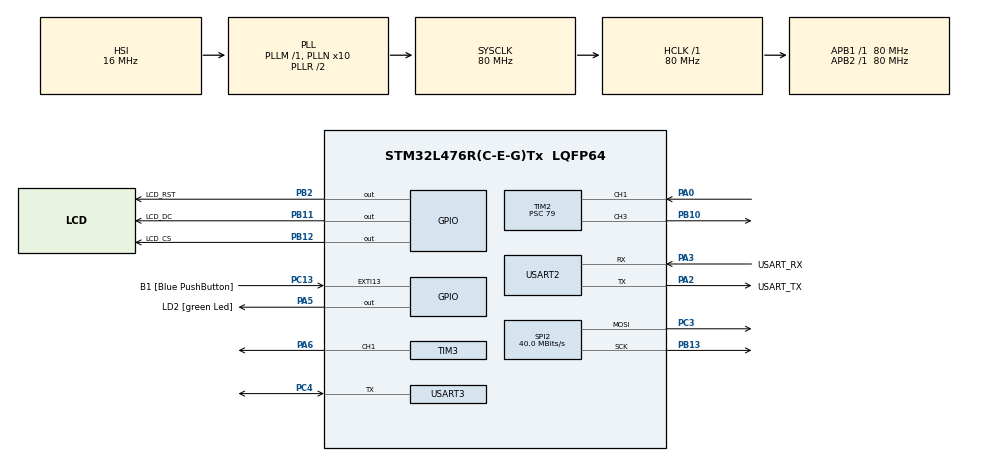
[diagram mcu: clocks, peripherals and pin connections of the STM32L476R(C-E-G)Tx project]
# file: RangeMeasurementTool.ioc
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Dma.Request0=SPI2_TX
Dma.Request1=TIM3_CH1/TRIG
Dma.SPI2_TX.0.Direction=DMA_MEMORY_TO_PERIPH
Dma.SPI2_TX.0.Instance=DMA1_Channel5
Dma.SPI2_TX.0.MemDataAlignment=DMA_MDATAALIGN_BYTE
Dma.SPI2_TX.0.MemInc=DMA_MINC_ENABLE
Dma.SPI2_TX.0.Mode=DMA_NORMAL
Dma.SPI2_TX.0.PeriphDataAlignment=DMA_PDATAALIGN_BYTE
Dma.SPI2_TX.0.PeriphInc=DMA_PINC_DISABLE
Dma.SPI2_TX.0.Priority=DMA_PRIORITY_LOW
Dma.TIM3_CH1/TRIG.1.Direction=DMA_MEMORY_TO_PERIPH
Dma.TIM3_CH1/TRIG.1.Instance=DMA1_Channel6
Dma.TIM3_CH1/TRIG.1.MemDataAlignment=DMA_MDATAALIGN_BYTE
Dma.TIM3_CH1/TRIG.1.MemInc=DMA_MINC_ENABLE
Dma.TIM3_CH1/TRIG.1.Mode=DMA_NORMAL
Dma.TIM3_CH1/TRIG.1.PeriphDataAlignment=DMA_PDATAALIGN_HALFWORD
Dma.TIM3_CH1/TRIG.1.PeriphInc=DMA_PINC_DISABLE
Dma.TIM3_CH1/TRIG.1.Priority=DMA_PRIORITY_LOW
Mcu.Family=STM32L4
Mcu.Name=STM32L476R(C-E-G)Tx
Mcu.Package=LQFP64
NVIC.DMA1_Channel5_IRQn=true\:0\:0\:false\:false\:true\:false\:true\:true
NVIC.DMA1_Channel6_IRQn=true\:0\:0\:false\:false\:true\:false\:true\:true
NVIC.PriorityGroup=NVIC_PRIORITYGROUP_4
NVIC.TIM1_UP_TIM16_IRQn=true\:6\:0\:true\:false\:true\:true\:true\:true
NVIC.TIM2_IRQn=true\:10\:0\:true\:false\:true\:true\:true\:true
NVIC.TIM7_IRQn=true\:5\:0\:true\:false\:true\:true\:true\:true
PA0.Signal=S_TIM2_CH1
PA13\ (JTMS-SWDIO).GPIO_Label=TMS
PA13\ (JTMS-SWDIO).Mode=Serial_Wire
PA13\ (JTMS-SWDIO).Signal=SYS_JTMS-SWDIO
PA14\ (JTCK-SWCLK).GPIO_Label=TCK
PA14\ (JTCK-SWCLK).Mode=Serial_Wire
PA14\ (JTCK-SWCLK).Signal=SYS_JTCK-SWCLK
PA2.GPIO_Label=USART_TX
PA2.GPIO_Mode=GPIO_MODE_AF_PP
PA2.GPIO_PuPd=GPIO_NOPULL
PA2.GPIO_Speed=GPIO_SPEED_FREQ_VERY_HIGH
PA2.Mode=Asynchronous
PA2.Signal=USART2_TX
PA3.GPIO_Label=USART_RX
PA3.GPIO_Mode=GPIO_MODE_AF_PP
PA3.GPIO_PuPd=GPIO_NOPULL
PA3.GPIO_Speed=GPIO_SPEED_FREQ_VERY_HIGH
PA3.Mode=Asynchronous
PA3.Signal=USART2_RX
PA5.GPIO_Label=LD2 [green Led]
PA5.GPIO_ModeDefaultOutputPP=GPIO_MODE_OUTPUT_PP
PA5.GPIO_PuPd=GPIO_NOPULL
PA5.GPIO_Speed=GPIO_SPEED_FREQ_LOW
PA5.Signal=GPIO_Output
PA6.Signal=S_TIM3_CH1
PB10.Signal=S_TIM2_CH3
PB11.GPIO_Label=LCD_DC
PB11.Signal=GPIO_Output
PB12.GPIO_Label=LCD_CS
PB12.Signal=GPIO_Output
PB13.Mode=TX_Only_Simplex_Unidirect_Master
PB13.Signal=SPI2_SCK
PB2.GPIO_Label=LCD_RST
PB2.Signal=GPIO_Output
PB3\ (JTDO-TRACESWO).GPIO_Label=SWO
PB3\ (JTDO-TRACESWO).Signal=SYS_JTDO-SWO
PC13.GPIO_Label=B1 [Blue PushButton]
PC13.GPIO_ModeDefaultEXTI=GPIO_MODE_IT_FALLING
PC13.GPIO_PuPd=GPIO_NOPULL
PC13.Signal=GPXTI13
PC14-OSC32_IN\ (PC14).Mode=LSE-External-Oscillator
PC14-OSC32_IN\ (PC14).Signal=RCC_OSC32_IN
PC15-OSC32_OUT\ (PC15).Mode=LSE-External-Oscillator
PC15-OSC32_OUT\ (PC15).Signal=RCC_OSC32_OUT
PC3.Mode=TX_Only_Simplex_Unidirect_Master
PC3.Signal=SPI2_MOSI
PC4.Mode=Half_duplex(single_wire_mode)
PC4.Signal=USART3_TX
PH0-OSC_IN\ (PH0).Signal=RCC_OSC_IN
PH1-OSC_OUT\ (PH1).Signal=RCC_OSC_OUT
ProjectManager.HeapSize=0x200
ProjectManager.StackSize=0x400
ProjectManager.TargetToolchain=STM32CubeIDE
RCC.ADCFreq_Value=64000000
RCC.AHBFreq_Value=80000000
RCC.APB1Freq_Value=80000000
RCC.APB1TimFreq_Value=80000000
RCC.APB2Freq_Value=80000000
RCC.APB2TimFreq_Value=80000000
RCC.CortexFreq_Value=80000000
RCC.HCLKFreq_Value=80000000
RCC.HSE_VALUE=8000000
RCC.HSI_VALUE=16000000
RCC.MSI_VALUE=4000000
RCC.PLLN=10
RCC.PLLSourceVirtual=RCC_PLLSOURCE_HSI
RCC.PREFETCH_ENABLE=1
RCC.SYSCLKFreq_VALUE=80000000
RCC.SYSCLKSource=RCC_SYSCLKSOURCE_PLLCLK
RCC.USBFreq_Value=64000000
RCC.VCOOutputFreq_Value=160000000
SH.S_TIM2_CH1.0=TIM2_CH1,Input_Capture1_from_TI1
SH.S_TIM2_CH3.0=TIM2_CH3,PWM Generation3 CH3
SH.S_TIM3_CH1.0=TIM3_CH1,PWM Generation1 CH1
SPI2.CalculateBaudRate=40.0 MBits/s
SPI2.DataSize=SPI_DATASIZE_8BIT
SPI2.Direction=SPI_DIRECTION_2LINES
SPI2.Mode=SPI_MODE_MASTER
SPI2.VirtualType=VM_MASTER
TIM16.Period=749
TIM16.Prescaler=7999
TIM2.Channel-Input_Capture1_from_TI1=TIM_CHANNEL_1
TIM2.Channel-Input_Capture2_from_TI1_63=TIM_CHANNEL_2
TIM2.Channel-PWM\ Generation3\ CH3=TIM_CHANNEL_3
TIM2.ICPolarity_CH2=TIM_INPUTCHANNELPOLARITY_FALLING
TIM2.Period=99999
TIM2.Prescaler=79
TIM2.Pulse-PWM\ Generation3\ CH3=10
TIM3.Channel-PWM\ Generation1\ CH1=TIM_CHANNEL_1
TIM3.Period=99
TIM6.Prescaler=79
TIM7.Period=499
TIM7.Prescaler=7999
USART2.VirtualMode-Asynchronous=VM_ASYNC
USART3.OverrunDisableParam=ADVFEATURE_OVERRUN_DISABLE
USART3.VirtualMode-Half_duplex(single_wire_mode)=VM_ASYNC
VP_DAC1_VS_DACI1.Mode=DAC_OUT1_Int
VP_TIM16_VS_ClockSourceINT.Mode=Enable_Timer
VP_TIM2_VS_ClockSourceINT.Mode=Internal
VP_TIM2_VS_indirect_ch1.Mode=Input_Capture2_from_TI1_63
VP_TIM3_VS_ClockSourceINT.Mode=Internal
VP_TIM6_VS_ClockSourceINT.Mode=Enable_Timer
VP_TIM7_VS_ClockSourceINT.Mode=Enable_Timer
board=NUCLEO-L476RG

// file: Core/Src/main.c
/* USER CODE BEGIN Header */
/**
 ******************************************************************************
 * @file           : main.c
 * @brief          : Main program body
 ******************************************************************************
 * @attention
 *
 * Copyright (c) 2024 STMicroelectronics.
 * All rights reserved.
 *
 * This software is licensed under terms that can be found in the LICENSE file
 * in the root directory of this software component.
 * If no LICENSE file comes with this software, it is provided AS-IS.
 *
 ******************************************************************************
 */
/* USER CODE END Header */
#include "main.h"
#include "dac.h"
#include "dma.h"
#include "spi.h"
#include "tim.h"
#include "usart.h"
#include "gpio.h"

/* USER CODE BEGIN Includes */
#include <stdio.h>
#include <wchar.h>
#include <stdbool.h>
#include <math.h>
#include "hagl.h"
#include "font6x9.h"
#include "rgb565.h"
#include "ds18b20.h"
#include "ws2812b.h"
/* USER CODE END Includes */

/* USER CODE BEGIN PV */
// gamma correction for WS2812B
const uint8_t gamma8[] = {
		0,  0,  0,  0,  0,  0,  0,  0,  0,  0,  0,  0,  0,  0,  0,  0,
		0,  0,  0,  0,  0,  0,  0,  0,  0,  0,  0,  0,  1,  1,  1,  1,
		1,  1,  1,  1,  1,  1,  1,  1,  1,  2,  2,  2,  2,  2,  2,  2,
		2,  3,  3,  3,  3,  3,  3,  3,  4,  4,  4,  4,  4,  5,  5,  5,
		5,  6,  6,  6,  6,  7,  7,  7,  7,  8,  8,  8,  9,  9,  9, 10,
		10, 10, 11, 11, 11, 12, 12, 13, 13, 13, 14, 14, 15, 15, 16, 16,
		17, 17, 18, 18, 19, 19, 20, 20, 21, 21, 22, 22, 23, 24, 24, 25,
		25, 26, 27, 27, 28, 29, 29, 30, 31, 32, 32, 33, 34, 35, 35, 36,
		37, 38, 39, 39, 40, 41, 42, 43, 44, 45, 46, 47, 48, 49, 50, 50,
		51, 52, 54, 55, 56, 57, 58, 59, 60, 61, 62, 63, 64, 66, 67, 68,
		69, 70, 72, 73, 74, 75, 77, 78, 79, 81, 82, 83, 85, 86, 87, 89,
		90, 92, 93, 95, 96, 98, 99,101,102,104,105,107,109,110,112,114,
		115,117,119,120,122,124,126,127,129,131,133,135,137,138,140,142,
		144,146,148,150,152,154,156,158,160,162,164,167,169,171,173,175,
		177,180,182,184,186,189,191,193,196,198,200,203,205,208,210,213,
		215,218,220,223,225,228,231,233,236,239,241,244,247,249,252,255 };
/* USER CODE END PV */

void SystemClock_Config(void);

/* USER CODE BEGIN 0 */
const uint8_t ds1[] = { 0x28, 0x86, 0x54, 0x14, 0x00, 0x00, 0x00, 0xFA }; // temp sensor 1 adress
const uint8_t ds2[] = { 0x28, 0x5B, 0x1D, 0x13, 0x00, 0x00, 0x00, 0xE8 }; // temp sensor 2 adress
volatile bool temp_measure_pending = true; // boolean value for launching measurement
volatile float temp_ds1 = 0.0;
volatile float temp_ds2 = 0.0; // initial value for temperature (used in interruption)
volatile float distance = 0.0;
volatile float prev_distance = 0.0;

// function for sending text using UART (i.e to PC)
int __io_putchar(int ch)
{
	if (ch == '\n')
		__io_putchar('\r');

	HAL_UART_Transmit(&huart2, (uint8_t*)&ch, 1, HAL_MAX_DELAY);
	return 1;
}

// speed of sound calculation based on air temperature
static float calc_sound_speed(float temp_ds1)
{
	return 331.8f + 0.6f * temp_ds1;
}

// function to check how many digits value has (used in displaying distance on LCD)
int howManyDigits(double value)
{
	// if value == 0, then 1 digit
	if (!value)
		return 1;

	int digits = (int)log10(fabs(value)) + 1;
	return digits;
}

// interruptions from timers
void HAL_TIM_PeriodElapsedCallback(TIM_HandleTypeDef *htim)
{
	if (htim == &htim7) { //Timer nr 7 is used for refreshing screen and diodes
		lcd_copy(); // update LCD (send buffer from i.e hagl_put_text)
		ws2812b_update(); // update WS2812B diodes (send buffer i.e ws2812b_set_color_all)
	} else if (htim == &htim16) { // Timer nr 16 is used for temperature measurement and preparing buffer for LCD
		if (temp_measure_pending) {
			ds18b20_start_measure(ds1); // start measurements for both ds18b20
			ds18b20_start_measure(ds2);
			temp_measure_pending = false; // measure started flag
		} else {
			// read and save converted temperature
			temp_ds1 = ds18b20_get_temp(ds1);
			temp_ds2 = ds18b20_get_temp(ds2);
			// buffers for temperature (wchar_t is accepted by hagl_put_text)
			wchar_t buffer_ds1[32];
			wchar_t buffer_ds2[32];
			// coversion float temp for wide char to put in hagl_put_text
			swprintf(buffer_ds1, 32, L"Case temp: %.1f*C", temp_ds1);
			swprintf(buffer_ds2, 32, L"Sensor temp: %.1f*C", temp_ds2);

			// hagl function for writing text with error handler (ds18b20 displays errors as 85*C value)
			if (temp_ds1 <= -80.0f) {
				hagl_put_text(L"Sensor (1) error...", 10, 20, RED, font6x9);
			} else {
				hagl_put_text(buffer_ds1, 10, 20, YELLOW, font6x9);
			}

			if (temp_ds1 <=-80.0f) {
				hagl_put_text(L"Sensor (2) error...", 10, 20, RED, font6x9);
			} else {
				hagl_put_text(buffer_ds2, 10, 40, YELLOW, font6x9);
			}
			// measurement finished, ready for next one
			temp_measure_pending = true;
		}
	} else if (htim == &htim2) { // Timer nr 2 is used for measuring distance and preparing buffers for LCD and LED
		// capturing rising and falling edge of sensor signal
		uint32_t start = HAL_TIM_ReadCapturedValue(&htim2, TIM_CHANNEL_1);
		uint32_t stop = HAL_TIM_ReadCapturedValue(&htim2, TIM_CHANNEL_2);
		// calculating distance based on sound speed at measured temperature
		distance = (stop - start) * calc_sound_speed(temp_ds1) / 20000.0f;
		// preparing data for LCD
		wchar_t buffer_distance[32];
		swprintf(buffer_distance, 32, L"Distance: %.1f cm", distance);

		// if numver of digits has changed (154 cm -> 67 cm), refresh screen by drawing rectangle
		if (howManyDigits(distance) != howManyDigits(prev_distance))
			hagl_fill_rectangle(10, 60, 150, 70, BLACK);

		// limiting range for LED - it will change colors only in 0-200 cm range
		float distance_led;
		if (distance > 200) {
			distance_led = 200;
		} else if (distance < 0) {
			distance_led = 0;
		} else  {
			distance_led = distance;
		}

		// closer means more red, further means more green
		ws2812b_set_color_all(255-roundf(distance_led/200*255), roundf(distance_led/200*255), 0);

		hagl_put_text(buffer_distance, 10, 60, YELLOW, font6x9); // prepare buffer for LCD
		prev_distance = distance;
	}
}
/* USER CODE END 0 */

int main(void)
{

  /* MCU Configuration--------------------------------------------------------*/

  /* Reset of all peripherals, Initializes the Flash interface and the Systick. */
  HAL_Init();

  /* Configure the system clock */
  SystemClock_Config();

  /* Initialize all configured peripherals */
  MX_GPIO_Init();
  MX_DMA_Init();
  MX_USART2_UART_Init();
  MX_SPI2_Init();
  MX_DAC1_Init();
  MX_TIM6_Init();
  MX_USART3_UART_Init();
  MX_TIM7_Init();
  MX_TIM16_Init();
  MX_TIM3_Init();
  MX_TIM2_Init();
  /* USER CODE BEGIN 2 */
	HAL_TIM_Base_Start_IT(&htim2);
	HAL_TIM_Base_Start_IT(&htim7);
	HAL_TIM_Base_Start_IT(&htim16);
	HAL_TIM_IC_Start(&htim2, TIM_CHANNEL_1);
	HAL_TIM_IC_Start(&htim2, TIM_CHANNEL_2);
	HAL_TIM_PWM_Start(&htim2, TIM_CHANNEL_3);
  /* USER CODE END 2 */

  /* Infinite loop */
  /* USER CODE BEGIN WHILE */
	lcd_init(); // LCD initialization

	while (1)
	{

    /* USER CODE END WHILE */

	}
}

void SystemClock_Config(void)
{
  RCC_OscInitTypeDef RCC_OscInitStruct = {0};
  RCC_ClkInitTypeDef RCC_ClkInitStruct = {0};

  /** Configure the main internal regulator output voltage
  */
  if (HAL_PWREx_ControlVoltageScaling(PWR_REGULATOR_VOLTAGE_SCALE1) != HAL_OK)
  {
    Error_Handler();
  }

  /** Initializes the RCC Oscillators according to the specified parameters
  * in the RCC_OscInitTypeDef structure.
  */
  RCC_OscInitStruct.OscillatorType = RCC_OSCILLATORTYPE_HSI;
  RCC_OscInitStruct.HSIState = RCC_HSI_ON;
  RCC_OscInitStruct.HSICalibrationValue = RCC_HSICALIBRATION_DEFAULT;
  RCC_OscInitStruct.PLL.PLLState = RCC_PLL_ON;
  RCC_OscInitStruct.PLL.PLLSource = RCC_PLLSOURCE_HSI;
  RCC_OscInitStruct.PLL.PLLM = 1;
  RCC_OscInitStruct.PLL.PLLN = 10;
  RCC_OscInitStruct.PLL.PLLP = RCC_PLLP_DIV7;
  RCC_OscInitStruct.PLL.PLLQ = RCC_PLLQ_DIV2;
  RCC_OscInitStruct.PLL.PLLR = RCC_PLLR_DIV2;
  if (HAL_RCC_OscConfig(&RCC_OscInitStruct) != HAL_OK)
  {
    Error_Handler();
  }

  /** Initializes the CPU, AHB and APB buses clocks
  */
  RCC_ClkInitStruct.ClockType = RCC_CLOCKTYPE_HCLK|RCC_CLOCKTYPE_SYSCLK
                              |RCC_CLOCKTYPE_PCLK1|RCC_CLOCKTYPE_PCLK2;
  RCC_ClkInitStruct.SYSCLKSource = RCC_SYSCLKSOURCE_PLLCLK;
  RCC_ClkInitStruct.AHBCLKDivider = RCC_SYSCLK_DIV1;
  RCC_ClkInitStruct.APB1CLKDivider = RCC_HCLK_DIV1;
  RCC_ClkInitStruct.APB2CLKDivider = RCC_HCLK_DIV1;

  if (HAL_RCC_ClockConfig(&RCC_ClkInitStruct, FLASH_LATENCY_4) != HAL_OK)
  {
    Error_Handler();
  }
}

void Error_Handler(void)
{
	__disable_irq();
	while (1)
	{
	}
}
